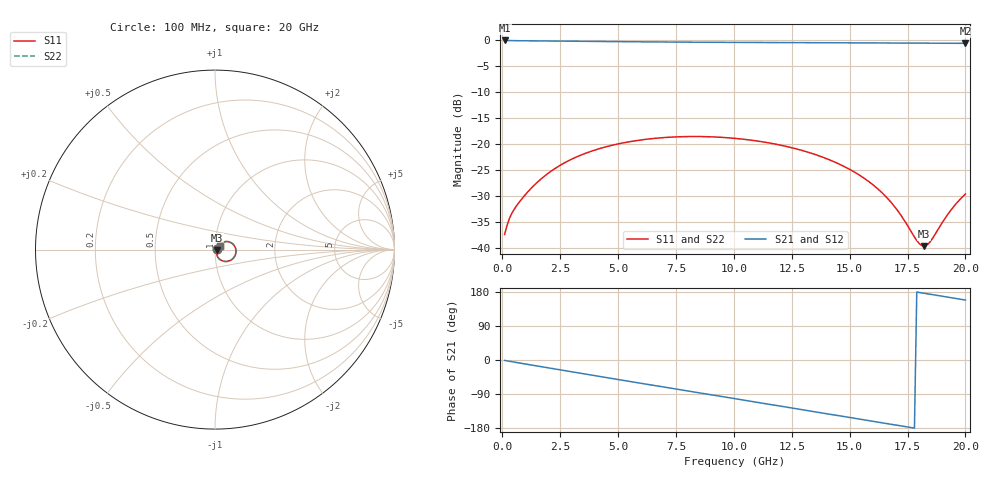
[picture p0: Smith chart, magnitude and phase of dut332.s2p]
! Touchstone file exported from HFSS 2026.1.0
!  File:  C:/ffzhzh/LocalFiles/Ansys_Project_Files/temp_train_TSV_RDL_332_1783033369_53980.aedt
!  Generated:  07:12:46 AM Jul  3, 2026
!  Design:  TSV_RDL
!  Project:  temp_train_TSV_RDL_332_1783033369_53980
! Variables:
!  h_bsmrdl = 3.73um
!  h_ox = 20um
!  h_rdl = 5um
!  h_sub = 66.92um
!  h_tmrdl = 4.5um
!  h_tsv = 66.92um
!  h_via = 3um
!  l_bsmrdl = 426.93um
!  l_sub = 3500.87um
!  l_tmrdl = 417.88um
!  m_sub = 200um
!  pitch = 31.55um
!  r_tsv = 7.23um
!  s_tmrdl = 10um
!  w_bsmrdl = 24.04um
!  w_sub = 500um
!  w_tmrdl = 25.48um
!  x_tsv_center1 = 430.62um
!  x_tsv_center2 = 881.59um
!  x_tsv_center3 = 1324.95um
!  x_tsv_center4 = 1775.92um
!  x_tsv_center5 = 2219.28um
!  x_tsv_center6 = 2670.25um
# GHz S MA R 50.000000
! Terminal data exported
! Port[1] = TM_RDL1_1_T1
! Port[2] = TM_RDL5_1_T1
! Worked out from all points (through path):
!   200 points, 100 MHz to 20 GHz, reference 50 ohm
!   highest |S21| = -0.11 dB at 100 MHz (marker M1); lowest = -0.7 dB at 20 GHz (marker M2)
!   group delay of S21, straight-line fit = 27.9 ps
!   lowest |S11| = -39.7 dB at 18.2 GHz (marker M3), VSWR 1.02, Z = 51 - j0.301 ohm
!   |S11| at or under -10 dB: start of sweep to end of sweep
!   |S22| runs from -39.9 to -18.6 dB; largest |S21 - S12| = 4.9e-14
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0.1  0.01344 18.7  0.9874 -1.2  0.9874 -1.2  0.01344 18.7
! Gamma 0 0 0 0
! Port Impedance 50 0 50 0
0.3  0.01895 32.0  0.9845 -3.4  0.9845 -3.4  0.01895 31.9
0.5  0.02319 36.3  0.9826 -5.4  0.9826 -5.4  0.02319 36.3
1.3  0.03845 44.8  0.9792 -13.7  0.9792 -13.7  0.03845 44.8
2.3  0.05837 42.9  0.9751 -24.0  0.9751 -24.0  0.05838 42.8
3.5  0.07965 34.4  0.9692 -36.3  0.9692 -36.3  0.07968 34.3
5.2  0.102 19.5  0.961 -53.5  0.961 -53.5  0.102 19.4
6.8  0.1141 4.9  0.9545 -69.6  0.9545 -69.6  0.1141 4.8
8.5  0.1176 -10.6  0.9492 -86.6  0.9492 -86.6  0.1177 -10.8
10.1  0.1126 -25.0  0.9454 -102.6  0.9454 -102.6  0.1127 -25.2
11.7  0.1004 -39.1  0.9425 -118.6  0.9425 -118.6  0.1005 -39.4
13.4  0.08051 -53.5  0.9398 -135.6  0.9398 -135.6  0.08057 -53.8
14.4  0.06618 -61.2  0.9382 -145.6  0.9382 -145.6  0.06622 -61.6
15.3  0.05205 -67.1  0.9366 -154.6  0.9366 -154.6  0.05207 -67.6
16.1  0.03887 -70.6  0.9351 -162.7  0.9351 -162.7  0.03886 -71.2
16.7  0.02889 -70.6  0.9339 -168.7  0.9339 -168.7  0.02884 -71.4
17.2  0.02084 -66.5  0.9329 -173.7  0.9329 -173.7  0.02074 -67.4
17.9  0.01175 -40.9  0.9313 179.3  0.9313 179.3  0.01154 -41.9
18.2  0.01037 -16.5  0.9306 176.3  0.9306 176.3  0.01012 -16.9
18.5  0.0116 8.2  0.9299 173.2  0.9299 173.2  0.01138 8.4
19.3  0.02191 35.8  0.9279 165.2  0.9279 165.2  0.02181 36.1
20  0.03294 39.3  0.9261 158.2  0.9261 158.2  0.03289 39.4
